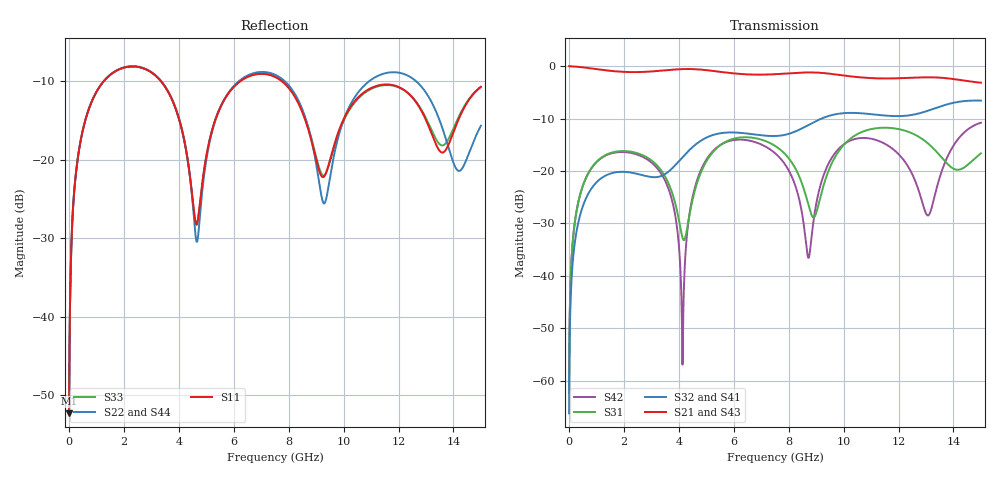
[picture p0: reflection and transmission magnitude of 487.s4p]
! Created with skrf 1.8.0 (http://scikit-rf.org).
# GHz S RI R 50.0
!freq ReS11 ImS11 ReS12 ImS12 ReS13 ImS13
! ReS14 ImS14
! ReS21 ImS21 ReS22 ImS22 ReS23 ImS23
! ReS24 ImS24
! ReS31 ImS31 ReS32 ImS32 ReS33 ImS33
! ReS34 ImS34
! ReS41 ImS41 ReS42 ImS42 ReS43 ImS43
! ReS44 ImS44
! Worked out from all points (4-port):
!   2499 points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, 5 MHz to 15 GHz, reference 50 ohm
!   strongest paths, dB at 5 MHz, 3.476 GHz, 7.19 GHz, 11.1 GHz, 15 GHz:
!     S21: 0.0, -0.8, -1.6, -2.3, -3.2
!     S43: 0.0, -0.8, -1.6, -2.3, -3.2
!     S32: -66.2, -20.7, -13.3, -9.2, -6.6
!     S41: -66.2, -20.7, -13.3, -9.3, -6.6
!     S31: -62.3, -20.8, -14.4, -11.9, -16.6
!     S42: -62.3, -21.6, -15.5, -14.0, -10.8
!   lowest |S11| = -52.3 dB at 5 MHz (marker M1), VSWR 1.00, Z = 50.2 + j0.147 ohm
!   |S11| at or under -10 dB: start of sweep to 1.264 GHz; 3.352 GHz to 6.235 GHz (2.883 GHz wide, 60.1 % of centre); 7.755 GHz to end of sweep
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0.005  0.00193 0.00147  0.998 -0.00375  9.78e-05 0.000763  -9.49e-05 -0.000479
       0.998 -0.00375  0.00193 0.00147  -9.49e-05 -0.000479  9.77e-05 0.000763
       9.78e-05 0.000763  -9.49e-05 -0.000479  0.00193 0.00147  0.998 -0.00375
       -9.49e-05 -0.000479  9.77e-05 0.000763  0.998 -0.00375  0.00193 0.00147
0.3126303  0.0316 0.0948  0.9566 -0.2318  0.0151 0.0442  -0.0123 -0.0272
           0.9566 -0.2318  0.0317 0.0948  -0.0123 -0.0272  0.0145 0.0444
           0.0151 0.0442  -0.0123 -0.0272  0.0316 0.0948  0.9566 -0.2318
           -0.0123 -0.0272  0.0145 0.0444  0.9566 -0.2318  0.0317 0.0948
1.369321  0.2818 0.174  0.5228 -0.7439  0.1331 0.0532  -0.0912 -0.00212
          0.5228 -0.7439  0.2836 0.1727  -0.0913 -0.00202  0.1279 0.0607
          0.1331 0.0532  -0.0913 -0.00202  0.2817 0.1741  0.5227 -0.7439
          -0.0912 -0.00212  0.1279 0.0607  0.5227 -0.7439  0.2836 0.1727
4.139225  0.0806 -0.1241  -0.8506 -0.3909  -0.0201 -0.0109  -0.0532 0.1247
          -0.8506 -0.3909  0.0734 -0.131  -0.0521 0.1252  -0.00151 0.000202
          -0.0201 -0.0109  -0.0521 0.1252  0.0802 -0.1238  -0.8508 -0.3907
          -0.0532 0.1247  -0.00151 0.000202  -0.8508 -0.3907  0.0735 -0.1305
5.277199  0.1136 0.1247  -0.8338 0.3303  0.099 0.1194  0.1093 0.1923
          -0.8338 0.3303  0.1064 0.1275  0.111 0.1918  0.0982 0.1237
          0.099 0.1194  0.111 0.1918  0.1131 0.1259  -0.8334 0.3307
          0.1093 0.1923  0.0982 0.1237  -0.8334 0.3307  0.1081 0.1284
9.366403  0.0809 0.0181  0.8475 0.0968  0.00921 0.0867  0.029 -0.3271
          0.8475 0.0968  0.0547 0.0137  0.0229 -0.3277  0.01 0.1045
          0.00921 0.0867  0.0229 -0.3277  0.0819 0.0137  0.8474 0.0981
          0.029 -0.3271  0.01 0.1045  0.8474 0.0981  0.0548 0.0102
15  0.2732 0.1008  -0.64 0.2691  0.1118 0.0957  0.2329 0.4065
    -0.64 0.2691  0.1495 0.0694  0.2444 0.3998  0.2585 0.1277
    0.1118 0.0957  0.2444 0.3998  0.2763 0.0929  -0.6405 0.2684
    0.2329 0.4065  0.2585 0.1277  -0.6405 0.2684  0.1462 0.0709
